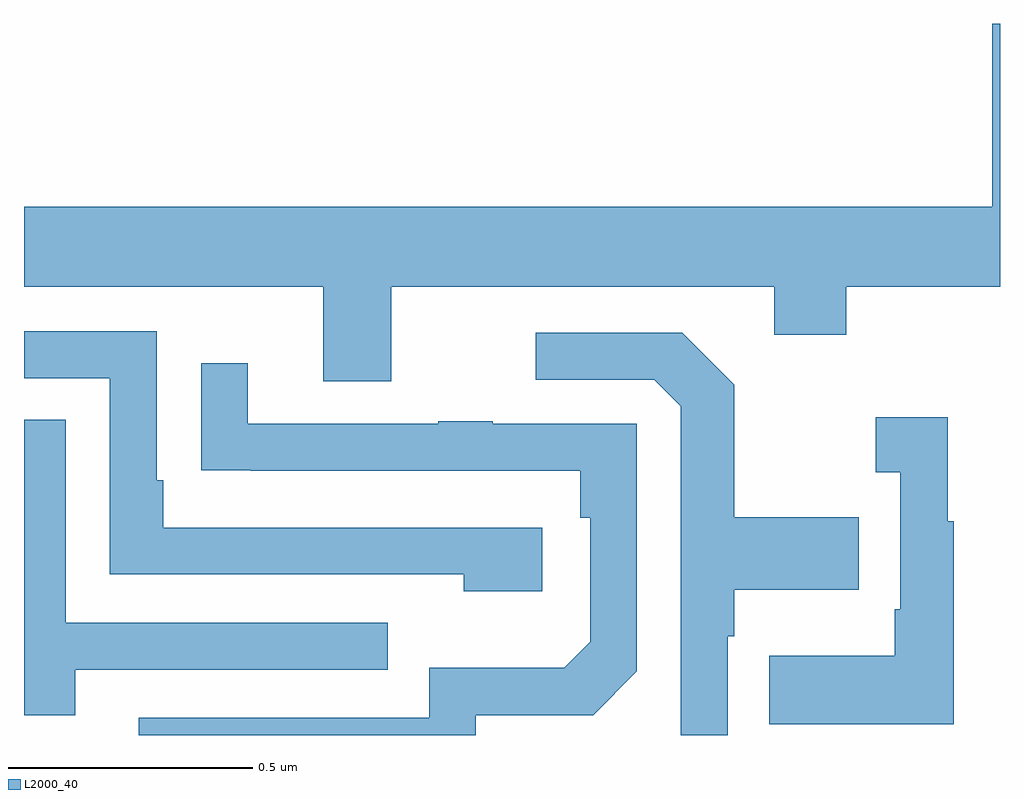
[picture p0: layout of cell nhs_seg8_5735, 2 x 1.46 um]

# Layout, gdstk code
import gdstk
lib = gdstk.Library(unit=1e-6, precision=1e-09)
def P(c, l, *ps):  # polygons
    for p in ps: c.add(gdstk.Polygon(p, *l))
L2000_40 = (2000, 40)

nhs_seg8_5735 = lib.new_cell('nhs_seg8_5735')
P(nhs_seg8_5735, L2000_40, [(187.753,1129.82),(188.537,1129.82),(188.537,1129.721),(188.685,1129.721),(188.685,1129.82),(189,1129.82),(189,1130.359),(188.984,1130.359),(188.984,1129.984),(187,1129.984),(187,1129.82),(187.613,1129.82),(187.613,1129.626),(187.753,1129.626)],
  [(188.062,1129.326),(187.285,1129.326),(187.285,1129.423),(187.272,1129.423),(187.272,1129.728),(187,1129.728),(187,1129.632),(187.176,1129.632),(187.176,1129.23),(187.901,1129.23),(187.901,1129.196),(188.062,1129.196)],
  [(188.442,1129.103),(188.455,1129.103),(188.455,1129.199),(188.711,1129.199),(188.711,1129.347),(188.455,1129.347),(188.455,1129.619),(188.349,1129.725),(188.049,1129.725),(188.049,1129.629),(188.292,1129.629),(188.346,1129.575),(188.346,1128.9),(188.442,1128.9)],
  [(187.926,1128.942),(188.166,1128.942),(188.256,1129.032),(188.256,1129.539),(187.961,1129.539),(187.961,1129.544),(187.849,1129.544),(187.849,1129.539),(187.459,1129.539),(187.459,1129.663),(187.363,1129.663),(187.363,1129.444),(187.465,1129.444),(187.465,1129.443),(188.14,1129.443),(188.14,1129.346),(188.16,1129.346),(188.16,1129.092),(188.107,1129.039),(187.83,1129.039),(187.83,1128.936),(187.235,1128.936),(187.235,1128.9),(187.926,1128.9)],
  [(188.905,1129.339),(188.893,1129.339),(188.893,1129.552),(188.745,1129.552),(188.745,1129.439),(188.796,1129.439),(188.796,1129.159),(188.784,1129.159),(188.784,1129.063),(188.527,1129.063),(188.527,1128.923),(188.905,1128.923)],
  [(187.105,1129.035),(187.745,1129.035),(187.745,1129.131),(187.086,1129.131),(187.086,1129.547),(187,1129.547),(187,1128.941),(187.105,1128.941)])

lib.write_gds('nhs_seg8_5735.gds')
